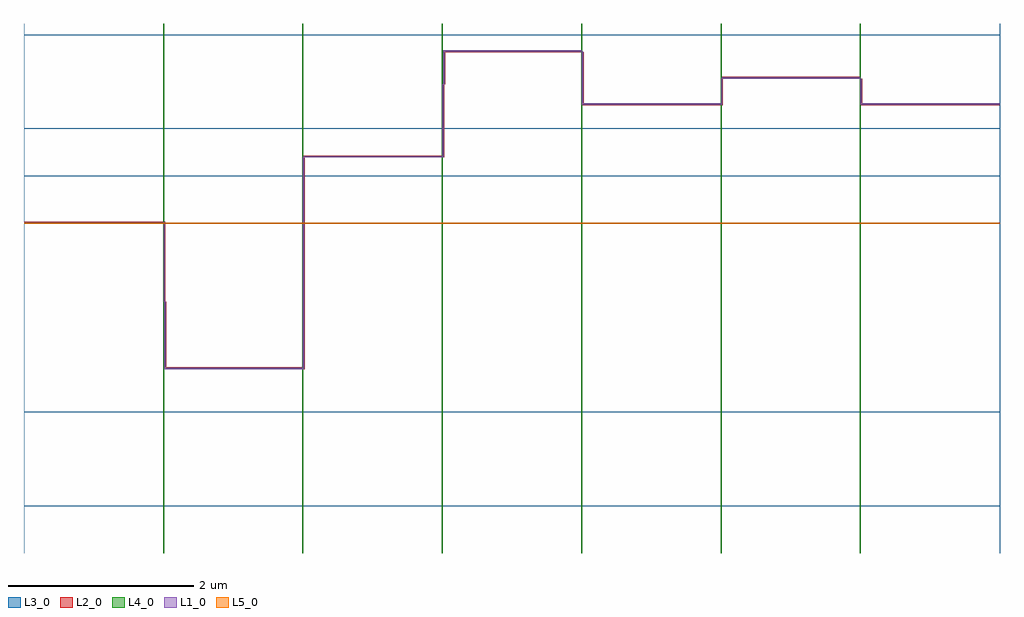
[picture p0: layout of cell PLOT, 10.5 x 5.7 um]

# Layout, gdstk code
import gdstk
lib = gdstk.Library(unit=1e-6, precision=1e-09)
def R(c, l, rs):  # rectangles x0, y0, x1, y1
    for r in rs: c.add(gdstk.rectangle(r[:2], r[2:], *l))
def A(c, l, x, y, w, h, nx, ny, dx, dy):  # array of equal rectangles
    R(c, l, [(x+i*dx, y+j*dy, x+i*dx+w, y+j*dy+h) for i in range(nx) for j in range(ny)])
L1_0 = (1, 0)
L2_0 = (2, 0)
L3_0 = (3, 0)
L4_0 = (4, 0)
L5_0 = (5, 0)

plot = lib.new_cell('PLOT')
A(plot, L1_0, 2.54, 2.78, 0.03, 0.015, 47, 1, 0.03, 0)
A(plot, L1_0, 1.03, 4.35, 0.03, 0.015, 49, 1, 0.03, 0)
A(plot, L1_0, 4.03, 5.06, 0.03, 0.015, 49, 1, 0.03, 0)
A(plot, L1_0, 7.04, 5.63, 0.03, 0.015, 47, 1, 0.03, 0)
A(plot, L1_0, 10.03, 5.63, 0.03, 0.015, 49, 1, 0.03, 0)
A(plot, L1_0, 8.56, 5.91, 0.03, 0.015, 48, 1, 0.03, 0)
A(plot, L1_0, 5.54, 6.2, 0.03, 0.015, 47, 1, 0.03, 0)
R(plot, L1_0, [(2.51,2.78,2.525,2.795), (2.51,2.78,2.525,2.795), (2.51,2.78,2.525,2.795), (2.51,2.78,2.525,2.795), (2.51,2.78,2.525,3.51), (2.52,2.78,2.535,2.795), (2.52,2.78,2.54,2.795), (3.95,2.78,3.97,2.795), (3.97,2.78,4,2.795), (4,2.78,4.015,3.01), (4,3.01,4.015,3.46), (4,3.46,4.015,4.26), (2.5,3.51,2.515,4.18), (2.5,4.18,2.515,4.35), (4,4.26,4.015,5.06), (1,4.35,1.015,4.365), (1,4.35,1.015,4.365), (1,4.35,1.015,4.365), (1,4.35,1.015,4.365), (1,4.35,1.015,4.365), (1,4.35,1.015,4.365), (1,4.35,1.015,4.365), (1.01,4.35,1.03,4.365), (2.5,4.35,2.515,4.365), (2.5,4.35,2.515,4.365), (2.5,4.35,2.515,4.365), (2.5,4.35,2.515,4.365), (4.01,5.06,4.025,5.075), (4.01,5.06,4.025,5.075), (4.01,5.06,4.025,5.075), (4.01,5.06,4.025,5.075), (4.02,5.06,4.035,5.075), (4.02,5.06,4.035,5.075), (5.5,5.06,5.515,5.12), (5.5,5.12,5.515,5.25), (5.5,5.25,5.515,5.51), (5.5,5.51,5.515,5.85), (7,5.63,7.015,5.86), (7.01,5.63,7.025,5.645), (7.01,5.63,7.025,5.645), (7.01,5.63,7.025,5.645), (7.01,5.63,7.025,5.645), (7.02,5.63,7.035,5.645), (7.02,5.63,7.04,5.645), (8.45,5.63,8.47,5.645), (8.47,5.63,8.5,5.645), (8.5,5.63,8.515,5.65), (10,5.63,10.015,5.73), (10.01,5.63,10.025,5.645), (10.01,5.63,10.025,5.645), (10.01,5.63,10.025,5.645), (10.01,5.63,10.025,5.645), (10.02,5.63,10.035,5.645), (10.02,5.63,10.035,5.645), (8.5,5.65,8.515,5.69), (8.5,5.69,8.515,5.76), (10,5.73,10.015,5.83), (8.5,5.76,8.515,5.91), (10,5.83,10.015,5.88), (5.51,5.85,5.525,6.2), (7,5.86,7.015,6.05), (10,5.88,10.015,5.91), (8.51,5.91,8.525,5.925), (8.51,5.91,8.525,5.925), (8.51,5.91,8.525,5.925), (8.52,5.91,8.535,5.925), (8.52,5.91,8.54,5.925), (8.54,5.91,8.56,5.925), (7,6.05,7.015,6.15), (7,6.15,7.015,6.2), (5.51,6.2,5.525,6.215), (5.51,6.2,5.525,6.215), (5.51,6.2,5.525,6.215), (5.52,6.2,5.535,6.215), (5.52,6.2,5.54,6.215), (6.95,6.2,6.97,6.215), (6.97,6.2,7,6.215)])
A(plot, L2_0, 2.54, 2.78, 0.03, 0.02, 47, 1, 0.03, 0)
A(plot, L2_0, 1.03, 4.35, 0.03, 0.02, 49, 1, 0.03, 0)
A(plot, L2_0, 4.03, 5.06, 0.03, 0.02, 49, 1, 0.03, 0)
A(plot, L2_0, 7.04, 5.62, 0.03, 0.02, 47, 1, 0.03, 0)
A(plot, L2_0, 10.03, 5.62, 0.03, 0.02, 49, 1, 0.03, 0)
A(plot, L2_0, 8.53, 5.91, 0.03, 0.02, 49, 1, 0.03, 0)
A(plot, L2_0, 5.54, 6.19, 0.03, 0.02, 47, 1, 0.03, 0)
R(plot, L2_0, [(2.51,2.78,2.53,2.8), (2.51,2.78,2.53,2.8), (2.51,2.78,2.53,2.8), (2.51,2.78,2.53,2.8), (2.51,2.78,2.53,3.51), (2.52,2.78,2.54,2.8), (2.52,2.78,2.54,2.8), (3.95,2.78,3.97,2.8), (3.97,2.78,4,2.8), (4,2.78,4.02,3.01), (4,3.01,4.02,3.47), (4,3.47,4.02,4.26), (2.5,3.51,2.52,4.18), (2.5,4.18,2.52,4.35), (4,4.26,4.02,5.06), (1,4.35,1.02,4.37), (1,4.35,1.02,4.37), (1,4.35,1.02,4.37), (1,4.35,1.02,4.37), (1,4.35,1.02,4.37), (1,4.35,1.02,4.37), (1,4.35,1.02,4.37), (1.01,4.35,1.03,4.37), (2.5,4.35,2.52,4.37), (2.5,4.35,2.52,4.37), (2.5,4.35,2.52,4.37), (2.5,4.35,2.52,4.37), (4.01,5.06,4.03,5.08), (4.01,5.06,4.03,5.08), (4.01,5.06,4.03,5.08), (4.01,5.06,4.03,5.08), (4.02,5.06,4.04,5.08), (4.02,5.06,4.04,5.08), (5.5,5.06,5.52,5.12), (5.5,5.12,5.52,5.25), (5.5,5.25,5.52,5.5), (5.5,5.5,5.52,5.85), (7,5.62,7.02,5.85), (7.01,5.62,7.03,5.64), (7.01,5.62,7.03,5.64), (7.01,5.62,7.03,5.64), (7.01,5.62,7.03,5.64), (7.02,5.62,7.04,5.64), (7.02,5.62,7.04,5.64), (8.45,5.62,8.47,5.64), (8.47,5.62,8.5,5.64), (8.5,5.62,8.52,5.64), (10,5.62,10.02,5.72), (10.01,5.62,10.03,5.64), (10.01,5.62,10.03,5.64), (10.01,5.62,10.03,5.64), (10.01,5.62,10.03,5.64), (10.02,5.62,10.04,5.64), (10.02,5.62,10.04,5.64), (8.5,5.64,8.52,5.68), (8.5,5.68,8.52,5.76), (10,5.72,10.02,5.82), (8.5,5.76,8.52,5.91), (10,5.82,10.02,5.88), (5.51,5.85,5.53,6.19), (7,5.85,7.02,6.05), (10,5.88,10.02,5.91), (8.51,5.91,8.53,5.93), (8.51,5.91,8.53,5.93), (8.51,5.91,8.53,5.93), (8.52,5.91,8.54,5.93), (8.52,5.91,8.54,5.93), (7,6.05,7.02,6.14), (7,6.14,7.02,6.19), (5.51,6.19,5.53,6.21), (5.51,6.19,5.53,6.21), (5.51,6.19,5.53,6.21), (5.52,6.19,5.54,6.21), (5.52,6.19,5.54,6.21), (6.95,6.19,6.97,6.21), (6.97,6.19,7,6.21)])
A(plot, L3_0, 0.998, 0.8, 0.004, 5.7, 8, 1, 1.5, 0)
A(plot, L3_0, 1, 4.348, 10.5, 0.004, 1, 3, 0, 0.51)
R(plot, L3_0, [(1,1.308,11.5,1.312), (1,2.318,11.5,2.322), (1,3.338,11.5,3.342), (1,5.868,11.5,5.872), (1,6.378,11.5,6.382)])
A(plot, L4_0, 2.495, 0.8, 0.01, 5.7, 6, 1, 1.5, 0)
R(plot, L5_0, [(1,4.345,11.5,4.355)])

lib.write_gds('PLOT.gds')
